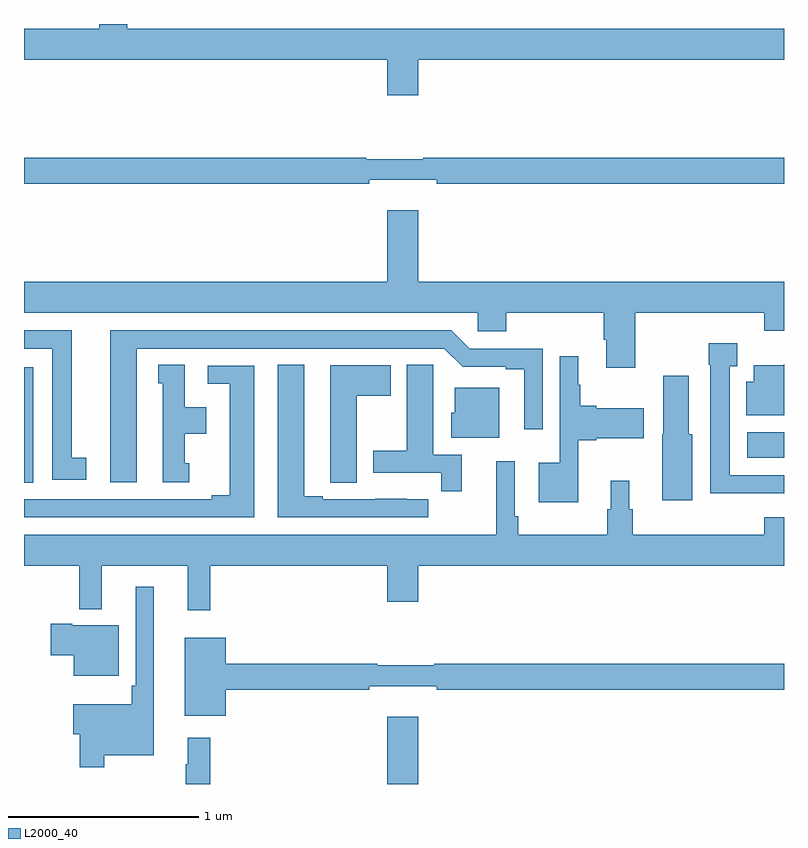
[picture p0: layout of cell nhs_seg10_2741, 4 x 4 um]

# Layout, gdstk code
import gdstk
lib = gdstk.Library(unit=1e-6, precision=1e-09)
def R(c, l, rs):  # rectangles x0, y0, x1, y1
    for r in rs: c.add(gdstk.rectangle(r[:2], r[2:], *l))
def P(c, l, *ps):  # polygons
    for p in ps: c.add(gdstk.Polygon(p, *l))
L2000_40 = (2000, 40)

nhs_seg10_2741 = lib.new_cell('nhs_seg10_2741')
R(nhs_seg10_2741, L2000_40, [(260.912,1300.5,261.076,1300.855), (259,1302.085,259.048,1302.693), (262.806,1302.218,263,1302.352)])
P(nhs_seg10_2741, L2000_40, [(261.076,1304.312),(263,1304.312),(263,1304.476),(259.543,1304.476),(259.543,1304.5),(259.396,1304.5),(259.396,1304.476),(259,1304.476),(259,1304.312),(260.912,1304.312),(260.912,1304.124),(261.076,1304.124)],
  [(260.816,1303.679),(261.172,1303.679),(261.172,1303.66),(263,1303.66),(263,1303.796),(261.1,1303.796),(261.1,1303.789),(260.8,1303.789),(260.8,1303.796),(259,1303.796),(259,1303.66),(260.816,1303.66)],
  [(262.217,1302.98),(262.895,1302.98),(262.895,1302.885),(263,1302.885),(263,1303.144),(261.076,1303.144),(261.076,1303.519),(260.912,1303.519),(260.912,1303.144),(259,1303.144),(259,1302.98),(261.387,1302.98),(261.387,1302.882),(261.539,1302.882),(261.539,1302.98),(262.052,1302.98),(262.052,1302.838),(262.064,1302.838),(262.064,1302.69),(262.217,1302.69)],
  [(259.594,1302.792),(261.213,1302.792),(261.309,1302.696),(261.536,1302.696),(261.536,1302.684),(261.632,1302.684),(261.632,1302.366),(261.729,1302.366),(261.729,1302.792),(261.345,1302.792),(261.249,1302.888),(259.454,1302.888),(259.454,1302.087),(259.594,1302.087)],
  [(259.327,1302.218),(259.252,1302.218),(259.252,1302.888),(259,1302.888),(259,1302.792),(259.148,1302.792),(259.148,1302.102),(259.327,1302.102)],
  [(262.836,1302.03),(263,1302.03),(263,1302.126),(262.714,1302.126),(262.714,1302.699),(262.753,1302.699),(262.753,1302.82),(262.603,1302.82),(262.603,1302.707),(262.613,1302.707),(262.613,1302.029),(262.836,1302.029)],
  [(261.916,1302.308),(262.012,1302.308),(262.012,1302.32),(262.261,1302.32),(262.261,1302.478),(262.012,1302.478),(262.012,1302.491),(261.928,1302.491),(261.928,1302.602),(261.916,1302.602),(261.916,1302.751),(261.819,1302.751),(261.819,1302.19),(261.71,1302.19),(261.71,1301.984),(261.916,1301.984)],
  [(263,1302.71),(262.993,1302.703),(262.841,1302.703),(262.841,1302.616),(262.802,1302.616),(262.802,1302.44),(263,1302.44)],
  [(261.305,1302.234),(261.154,1302.234),(261.154,1302.596),(261.153,1302.596),(261.153,1302.707),(261.014,1302.707),(261.014,1302.255),(260.837,1302.255),(260.837,1302.138),(261.196,1302.138),(261.196,1302.042),(261.305,1302.042)],
  [(261.127,1302),(261.014,1302),(261.014,1302.001),(260.848,1302.001),(260.848,1302),(260.572,1302),(260.572,1302.015),(260.476,1302.015),(260.476,1302.707),(260.336,1302.707),(260.336,1301.904),(261.127,1301.904)],
  [(259.87,1302.189),(259.846,1302.189),(259.846,1302.344),(259.96,1302.344),(259.96,1302.484),(259.846,1302.484),(259.846,1302.707),(259.706,1302.707),(259.706,1302.609),(259.73,1302.609),(259.73,1302.087),(259.87,1302.087)],
  [(260.752,1302.544),(260.929,1302.544),(260.929,1302.703),(260.612,1302.703),(260.612,1302.193),(260.613,1302.193),(260.613,1302.085),(260.752,1302.085)],
  [(260.212,1302.702),(259.968,1302.702),(259.968,1302.606),(260.084,1302.606),(260.084,1302.02),(259.988,1302.02),(259.988,1302),(259,1302),(259,1301.904),(260.212,1301.904)],
  [(262.516,1302.342),(262.498,1302.342),(262.498,1302.649),(262.364,1302.649),(262.364,1302.342),(262.358,1302.342),(262.358,1301.994),(262.516,1301.994)],
  [(261.502,1302.586),(261.266,1302.586),(261.266,1302.453),(261.248,1302.453),(261.248,1302.323),(261.502,1302.323)],
  [(259.979,1301.648),(260.912,1301.648),(260.912,1301.46),(261.076,1301.46),(261.076,1301.648),(263,1301.648),(263,1301.905),(262.895,1301.905),(262.895,1301.812),(262.205,1301.812),(262.205,1301.946),(262.186,1301.946),(262.186,1302.097),(262.088,1302.097),(262.088,1301.946),(262.069,1301.946),(262.069,1301.812),(261.602,1301.812),(261.602,1301.908),(261.582,1301.908),(261.582,1302.199),(261.485,1302.199),(261.485,1301.812),(259,1301.812),(259,1301.648),(259.291,1301.648),(259.291,1301.42),(259.409,1301.42),(259.409,1301.648),(259.862,1301.648),(259.862,1301.415),(259.979,1301.415)],
  [(259.423,1300.652),(259.684,1300.652),(259.684,1301.539),(259.587,1301.539),(259.587,1301.017),(259.567,1301.017),(259.567,1300.921),(259.26,1300.921),(259.26,1300.763),(259.294,1300.763),(259.294,1300.587),(259.423,1300.587)],
  [(259.498,1301.335),(259.255,1301.335),(259.255,1301.343),(259.142,1301.343),(259.142,1301.177),(259.262,1301.177),(259.262,1301.069),(259.498,1301.069)],
  [(260.062,1300.996),(260.816,1300.996),(260.816,1301.015),(261.172,1301.015),(261.172,1300.996),(263,1300.996),(263,1301.132),(261.158,1301.132),(261.158,1301.125),(260.858,1301.125),(260.858,1301.132),(260.062,1301.132),(260.062,1301.269),(259.847,1301.269),(259.847,1300.859),(260.062,1300.859)],
  [(259.979,1300.744),(259.862,1300.744),(259.862,1300.604),(259.851,1300.604),(259.851,1300.5),(259.979,1300.5)])

lib.write_gds('nhs_seg10_2741.gds')
